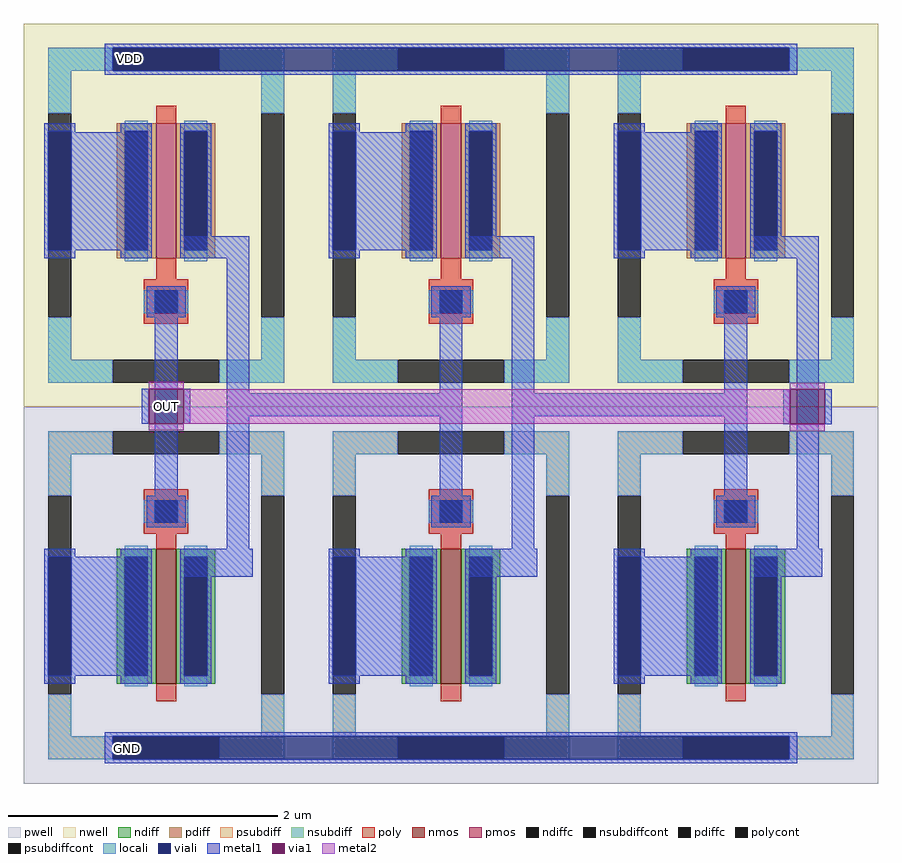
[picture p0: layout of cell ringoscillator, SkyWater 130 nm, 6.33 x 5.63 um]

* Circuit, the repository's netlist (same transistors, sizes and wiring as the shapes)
** sch_path: /home/muhammadkhairulfattah/icdec_ringoscillator/ringoscillator.sch
.subckt ringoscillator vdd out gnd
*.PININFO vdd:B gnd:B out:O
x1 vdd out net1 gnd inverter2
x2 vdd net1 net2 gnd inverter2
x3 vdd net2 out gnd inverter2
.ends

* expanding   symbol:  /home/muhammadkhairulfattah/icdec_inverter2/inverter2.sym # of pins=4
** sym_path: /home/muhammadkhairulfattah/icdec_inverter2/inverter2.sym
** sch_path: /home/muhammadkhairulfattah/icdec_inverter2/inverter2.sch
.subckt inverter2 vdd in out gnd
*.PININFO out:O vdd:I in:I gnd:I
XM1 out in gnd gnd sky130_fd_pr__nfet_01v8 L=0.15 W=1 nf=1 m=1
XM2 out in vdd vdd sky130_fd_pr__pfet_01v8 L=0.15 W=1 nf=1 m=1
.ends

.end

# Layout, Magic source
magic
tech sky130A
magscale 1 2
<< viali >>
rect 132 1056 1134 1090
rect 132 36 1134 70
<< metal1 >>
rect 120 1090 1146 1096
rect 120 1056 132 1090
rect 1134 1056 1146 1090
rect 120 1050 1146 1056
rect 175 533 185 585
rect 237 533 247 585
rect 318 544 633 578
rect 738 544 1053 578
rect 1125 532 1135 584
rect 1187 532 1197 584
rect 120 70 1146 76
rect 120 36 132 70
rect 1134 36 1146 70
rect 120 30 1146 36
<< via1 >>
rect 185 533 237 585
rect 1135 532 1187 584
<< metal2 >>
rect 185 585 237 595
rect 1135 584 1187 594
rect 237 533 1135 584
rect 185 523 237 533
rect 1135 522 1187 532
use inverter2  x1
transform 1 0 53 0 1 53
box -53 -53 369 1073
use inverter2  x2
transform 1 0 475 0 1 53
box -53 -53 369 1073
use inverter2  x3
transform 1 0 897 0 1 53
box -53 -53 369 1073
<< labels >>
flabel viali 156 1074 156 1074 0 FreeSans 160 0 0 0 VDD
port 0 nsew
flabel viali 154 52 154 52 0 FreeSans 160 0 0 0 GND
port 1 nsew
flabel via1 212 558 212 558 0 FreeSans 160 0 0 0 OUT
port 2 nsew
<< end >>

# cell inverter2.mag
magic
tech sky130A
magscale 1 2
<< viali >>
rect -17 737 17 913
rect -17 107 17 283
<< metal1 >>
rect -23 913 23 925
rect -23 737 -17 913
rect 17 912 23 913
rect 17 737 131 912
rect -23 725 23 737
rect 179 725 281 758
rect 141 333 175 678
rect 248 295 281 725
rect -23 283 23 295
rect -23 107 -17 283
rect 17 107 131 283
rect 179 253 286 295
rect -23 95 23 107
use sky130_fd_pr__nfet_01v8_64Z3AY  XM1
transform 1 0 158 0 1 226
box -211 -279 211 279
use sky130_fd_pr__pfet_01v8_LGS3BL  XM2
transform 1 0 158 0 1 789
box -211 -284 211 284
<< labels >>
flabel metal1 41 842 47 844 0 FreeSans 160 0 0 0 VDD
port 1 nsew
flabel metal1 47 198 47 198 0 FreeSans 160 0 0 0 GND
port 2 nsew
flabel metal1 159 503 159 503 0 FreeSans 160 0 0 0 IN
port 4 nsew
flabel metal1 266 507 266 507 0 FreeSans 160 0 0 0 OUT
port 6 nsew
<< end >>

# cell sky130_fd_pr__nfet_01v8_64Z3AY: kit device sky130_fd_pr__nfet_01v8, w 1.0 l 0.15 m 1 nf 1 diffcov 100 polycov 100 guard 1 glc 1 grc 1 gtc 1 gbc 1 tbcov 100 rlcov 100 topc 1 botc 0 poverlap 0 doverlap 1 lmin 0.15 wmin 0.42 compatible {sky130_fd_pr__nfet_01v8 sky130_fd_pr__nfet_01v8_lvt sky130_fd_bs_flash__special_sonosfet_star sky130_fd_pr__nfet_g5v0d10v5 sky130_fd_pr__nfet_05v0_nvt sky130_fd_pr__nfet_03v3_nvt} full_metal 1 viasrc 100 viadrn 100 viagate 100 viagb 0 viagr 0 viagl 0 viagt 0

# cell sky130_fd_pr__pfet_01v8_LGS3BL: kit device sky130_fd_pr__pfet_01v8, w 1.0 l 0.15 m 1 nf 1 diffcov 100 polycov 100 guard 1 glc 1 grc 1 gtc 1 gbc 1 tbcov 100 rlcov 100 topc 0 botc 1 poverlap 0 doverlap 1 lmin 0.15 wmin 0.42 compatible {sky130_fd_pr__pfet_01v8 sky130_fd_pr__pfet_01v8_lvt sky130_fd_pr__pfet_01v8_hvt sky130_fd_pr__pfet_g5v0d10v5} full_metal 1 viasrc 100 viadrn 100 viagate 100 viagb 0 viagr 0 viagl 0 viagt 0
